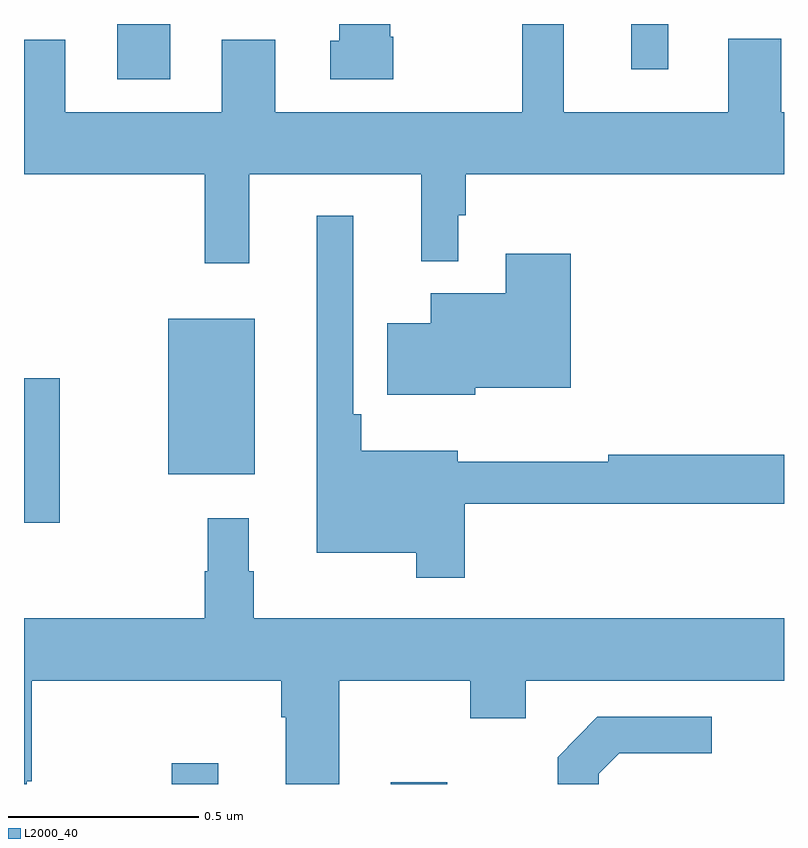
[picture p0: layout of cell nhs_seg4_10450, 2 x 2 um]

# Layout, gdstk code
import gdstk
lib = gdstk.Library(unit=1e-6, precision=1e-09)
def R(c, l, rs):  # rectangles x0, y0, x1, y1
    for r in rs: c.add(gdstk.rectangle(r[:2], r[2:], *l))
def P(c, l, *ps):  # polygons
    for p in ps: c.add(gdstk.Polygon(p, *l))
L2000_40 = (2000, 40)

nhs_seg4_10450 = lib.new_cell('nhs_seg4_10450')
R(nhs_seg4_10450, L2000_40, [(240.389,777.9,240.511,777.955), (240.965,777.9,241.114,777.904), (240,778.587,240.094,778.968), (240.38,778.715,240.607,779.125), (240.245,779.754,240.385,779.9), (241.598,779.781,241.696,779.9)])
P(nhs_seg4_10450, L2000_40, [(240.593,779.504),(241.046,779.504),(241.046,779.276),(241.143,779.276),(241.143,779.397),(241.163,779.397),(241.163,779.504),(242,779.504),(242,779.668),(241.993,779.668),(241.993,779.861),(241.853,779.861),(241.853,779.668),(241.421,779.668),(241.421,779.9),(241.311,779.9),(241.311,779.668),(240.661,779.668),(240.661,779.858),(240.521,779.858),(240.521,779.668),(240.109,779.668),(240.109,779.858),(240,779.858),(240,779.504),(240.475,779.504),(240.475,779.271),(240.593,779.271)],
  [(240.972,779.866),(240.964,779.866),(240.964,779.9),(240.83,779.9),(240.83,779.856),(240.806,779.856),(240.806,779.754),(240.972,779.754)],
  [(241.16,778.638),(242,778.638),(242,778.766),(241.537,778.766),(241.537,778.748),(241.141,778.748),(241.141,778.777),(240.887,778.777),(240.887,778.873),(240.867,778.873),(240.867,779.395),(240.77,779.395),(240.77,778.508),(241.032,778.508),(241.032,778.443),(241.16,778.443)],
  [(241.188,778.943),(241.439,778.943),(241.439,779.296),(241.268,779.296),(241.268,779.191),(241.07,779.191),(241.07,779.113),(240.956,779.113),(240.956,778.925),(241.188,778.925)],
  [(240.007,777.907),(240.02,777.907),(240.02,778.172),(240.677,778.172),(240.677,778.076),(240.689,778.076),(240.689,777.9),(240.829,777.9),(240.829,778.172),(241.174,778.172),(241.174,778.073),(241.321,778.073),(241.321,778.172),(242,778.172),(242,778.336),(240.604,778.336),(240.604,778.46),(240.592,778.46),(240.592,778.6),(240.483,778.6),(240.483,778.46),(240.475,778.46),(240.475,778.336),(240,778.336),(240,777.9),(240.007,777.9)],
  [(241.512,777.927),(241.566,777.981),(241.81,777.981),(241.81,778.077),(241.509,778.077),(241.404,777.971),(241.404,777.9),(241.512,777.9)])

lib.write_gds('nhs_seg4_10450.gds')
